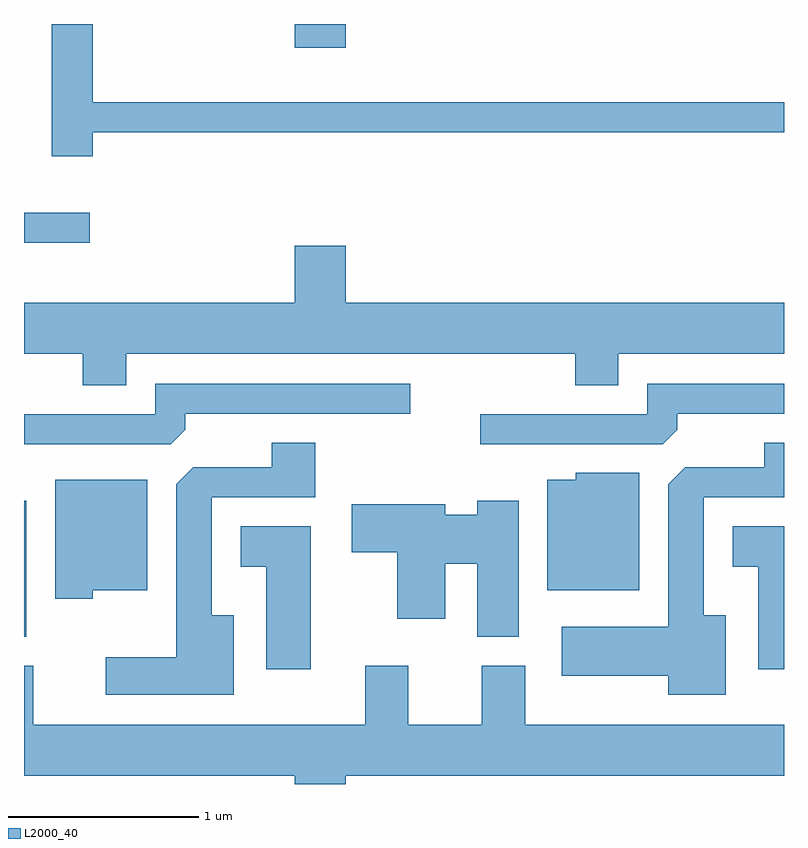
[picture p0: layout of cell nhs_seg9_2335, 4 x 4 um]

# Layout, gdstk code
import gdstk
lib = gdstk.Library(unit=1e-6, precision=1e-09)
def R(c, l, rs):  # rectangles x0, y0, x1, y1
    for r in rs: c.add(gdstk.rectangle(r[:2], r[2:], *l))
def P(c, l, *ps):  # polygons
    for p in ps: c.add(gdstk.Polygon(p, *l))
L2000_40 = (2000, 40)

nhs_seg9_2335 = lib.new_cell('nhs_seg9_2335')
R(nhs_seg9_2335, L2000_40, [(253.611,1999.206,253.624,1999.924), (253.611,2001.281,253.958,2001.439), (255.036,2002.306,255.304,2002.432)])
P(nhs_seg9_2335, L2000_40, [(253.974,2001.861),(257.611,2001.861),(257.611,2002.019),(253.974,2002.019),(253.974,2002.432),(253.756,2002.432),(253.756,2001.736),(253.974,2001.736)],
  [(254.149,2000.696),(256.511,2000.696),(256.511,2000.531),(256.739,2000.531),(256.739,2000.696),(257.611,2000.696),(257.611,2000.964),(255.304,2000.964),(255.304,2001.264),(255.036,2001.264),(255.036,2000.964),(253.611,2000.964),(253.611,2000.696),(253.921,2000.696),(253.921,2000.531),(254.149,2000.531)],
  [(257.049,2000.297),(257.049,2000.381),(257.611,2000.381),(257.611,2000.539),(256.891,2000.539),(256.891,2000.379),(256.013,2000.379),(256.013,2000.221),(256.974,2000.221)],
  [(254.459,2000.297),(254.459,2000.381),(255.643,2000.381),(255.643,2000.539),(254.301,2000.539),(254.301,2000.379),(253.611,2000.379),(253.611,2000.221),(254.384,2000.221)],
  [(254.714,1999.319),(254.599,1999.319),(254.599,1999.941),(255.144,1999.941),(255.144,2000.229),(254.916,2000.229),(254.916,2000.099),(254.502,2000.099),(254.411,2000.009),(254.411,1999.099),(254.041,1999.099),(254.041,1998.901),(254.714,1998.901)],
  [(257.304,1999.319),(257.189,1999.319),(257.189,1999.941),(257.611,1999.941),(257.611,2000.229),(257.506,2000.229),(257.506,2000.099),(257.092,2000.099),(257.001,2000.009),(257.001,1999.259),(256.441,1999.259),(256.441,1999.001),(257.001,1999.001),(257.001,1998.901),(257.304,1998.901)],
  [(256.849,2000.069),(256.516,2000.069),(256.516,2000.034),(256.366,2000.034),(256.366,1999.451),(256.849,1999.451)],
  [(253.974,1999.451),(254.259,1999.451),(254.259,2000.034),(253.776,2000.034),(253.776,1999.406),(253.974,1999.406)],
  [(256.214,1999.924),(255.996,1999.924),(255.996,1999.849),(255.829,1999.849),(255.829,1999.904),(255.336,1999.904),(255.336,1999.651),(255.576,1999.651),(255.576,1999.301),(255.829,1999.301),(255.829,1999.591),(255.996,1999.591),(255.996,1999.206),(256.214,1999.206)],
  [(255.119,1999.789),(254.751,1999.789),(254.751,1999.576),(254.886,1999.576),(254.886,1999.036),(255.119,1999.036)],
  [(257.611,1999.789),(257.341,1999.789),(257.341,1999.576),(257.476,1999.576),(257.476,1999.036),(257.611,1999.036)],
  [(255.304,1998.476),(257.611,1998.476),(257.611,1998.744),(256.249,1998.744),(256.249,1999.054),(256.021,1999.054),(256.021,1998.744),(255.634,1998.744),(255.634,1999.054),(255.406,1999.054),(255.406,1998.744),(253.659,1998.744),(253.659,1999.054),(253.611,1999.054),(253.611,1998.476),(255.036,1998.476),(255.036,1998.432),(255.304,1998.432)])

lib.write_gds('nhs_seg9_2335.gds')
